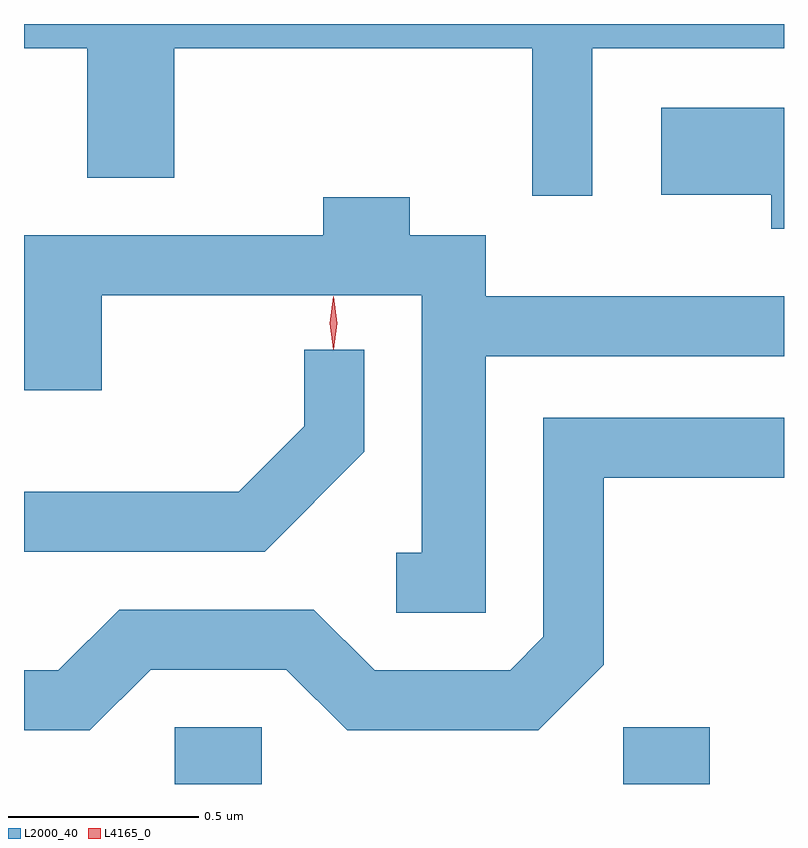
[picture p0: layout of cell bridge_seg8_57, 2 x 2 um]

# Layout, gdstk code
import gdstk
lib = gdstk.Library(unit=1e-6, precision=1e-09)
def R(c, l, rs):  # rectangles x0, y0, x1, y1
    for r in rs: c.add(gdstk.rectangle(r[:2], r[2:], *l))
def P(c, l, *ps):  # polygons
    for p in ps: c.add(gdstk.Polygon(p, *l))
L2000_40 = (2000, 40)
L4165_0 = (4165, 0)

bridge_seg8_57 = lib.new_cell('bridge_seg8_57')
R(bridge_seg8_57, L2000_40, [(1538.221,1932.16,1538.449,1932.309), (1539.401,1932.16,1539.629,1932.309)])
P(bridge_seg8_57, L2000_40, [(1539.319,1934.096),(1539.824,1934.096),(1539.824,1934.16),(1537.824,1934.16),(1537.824,1934.096),(1537.991,1934.096),(1537.991,1933.756),(1538.219,1933.756),(1538.219,1934.096),(1539.161,1934.096),(1539.161,1933.708),(1539.319,1933.708)],
  [(1539.824,1933.939),(1539.501,1933.939),(1539.501,1933.711),(1539.791,1933.711),(1539.791,1933.621),(1539.824,1933.621)],
  [(1539.039,1933.286),(1539.824,1933.286),(1539.824,1933.444),(1539.039,1933.444),(1539.039,1933.604),(1538.839,1933.604),(1538.839,1933.704),(1538.611,1933.704),(1538.611,1933.604),(1537.824,1933.604),(1537.824,1933.196),(1538.029,1933.196),(1538.029,1933.446),(1538.871,1933.446),(1538.871,1932.769),(1538.803,1932.769),(1538.803,1932.611),(1539.039,1932.611)],
  [(1538.719,1933.034),(1538.719,1933.303),(1538.561,1933.303),(1538.561,1933.102),(1538.389,1932.929),(1537.824,1932.929),(1537.824,1932.771),(1538.457,1932.771)],
  [(1538.157,1932.461),(1538.514,1932.461),(1538.674,1932.301),(1539.177,1932.301),(1539.349,1932.474),(1539.349,1932.966),(1539.824,1932.966),(1539.824,1933.124),(1539.191,1933.124),(1539.191,1932.547),(1539.104,1932.459),(1538.747,1932.459),(1538.587,1932.619),(1538.074,1932.619),(1537.914,1932.459),(1537.824,1932.459),(1537.824,1932.301),(1537.997,1932.301)])
P(bridge_seg8_57, L4165_0, [(1538.638,1933.303),(1538.638,1933.304),(1538.628,1933.373),(1538.638,1933.442),(1538.638,1933.443),(1538.639,1933.442),(1538.648,1933.373),(1538.639,1933.304)])

lib.write_gds('bridge_seg8_57.gds')
